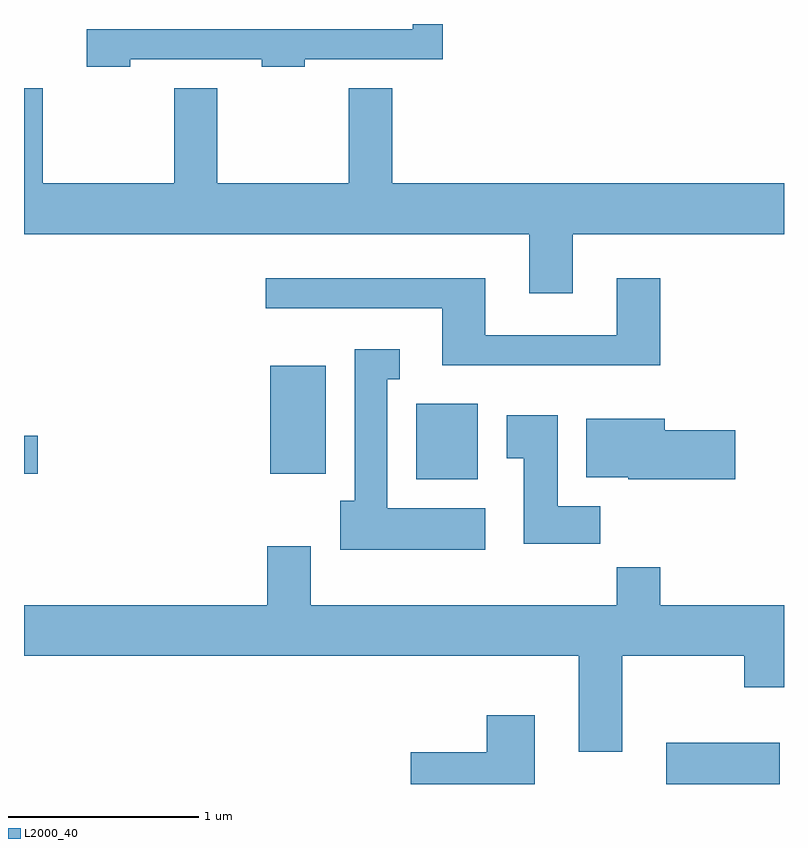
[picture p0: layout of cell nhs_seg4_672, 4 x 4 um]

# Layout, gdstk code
import gdstk
lib = gdstk.Library(unit=1e-6, precision=1e-09)
def R(c, l, rs):  # rectangles x0, y0, x1, y1
    for r in rs: c.add(gdstk.rectangle(r[:2], r[2:], *l))
def P(c, l, *ps):  # polygons
    for p in ps: c.add(gdstk.Polygon(p, *l))
L2000_40 = (2000, 40)

nhs_seg4_672 = lib.new_cell('nhs_seg4_672')
R(nhs_seg4_672, L2000_40, [(206.991,1373.982,207.589,1374.199), (205.676,1375.586,205.999,1375.984), (203.611,1375.616,203.684,1375.814), (204.906,1375.616,205.199,1376.184)])
P(nhs_seg4_672, L2000_40, [(204.169,1377.796),(204.861,1377.796),(204.861,1377.756),(205.089,1377.756),(205.089,1377.796),(205.814,1377.796),(205.814,1377.982),(205.656,1377.982),(205.656,1377.954),(203.941,1377.954),(203.941,1377.756),(204.169,1377.756)],
  [(206.499,1376.876),(207.611,1376.876),(207.611,1377.144),(205.549,1377.144),(205.549,1377.644),(205.321,1377.644),(205.321,1377.144),(204.629,1377.144),(204.629,1377.644),(204.401,1377.644),(204.401,1377.144),(203.709,1377.144),(203.709,1377.644),(203.611,1377.644),(203.611,1376.876),(206.271,1376.876),(206.271,1376.566),(206.499,1376.566)],
  [(206.959,1376.644),(206.731,1376.644),(206.731,1376.344),(206.039,1376.344),(206.039,1376.644),(204.883,1376.644),(204.883,1376.486),(205.811,1376.486),(205.811,1376.186),(206.959,1376.186)],
  [(206.039,1375.434),(205.524,1375.434),(205.524,1376.111),(205.588,1376.111),(205.588,1376.269),(205.351,1376.269),(205.351,1375.474),(205.276,1375.474),(205.276,1375.216),(206.039,1375.216)],
  [(206.644,1375.444),(206.419,1375.444),(206.419,1375.924),(206.151,1375.924),(206.151,1375.696),(206.241,1375.696),(206.241,1375.246),(206.644,1375.246)],
  [(207.354,1375.844),(206.984,1375.844),(206.984,1375.904),(206.571,1375.904),(206.571,1375.596),(206.79,1375.596),(206.79,1375.586),(207.354,1375.586)],
  [(206.759,1374.656),(207.401,1374.656),(207.401,1374.491),(207.611,1374.491),(207.611,1374.924),(206.959,1374.924),(206.959,1375.124),(206.731,1375.124),(206.731,1374.924),(205.119,1374.924),(205.119,1375.234),(204.891,1375.234),(204.891,1374.924),(203.611,1374.924),(203.611,1374.656),(206.531,1374.656),(206.531,1374.151),(206.759,1374.151)],
  [(206.299,1374.344),(206.046,1374.344),(206.046,1374.149),(205.646,1374.149),(205.646,1373.982),(206.299,1373.982)])

lib.write_gds('nhs_seg4_672.gds')
